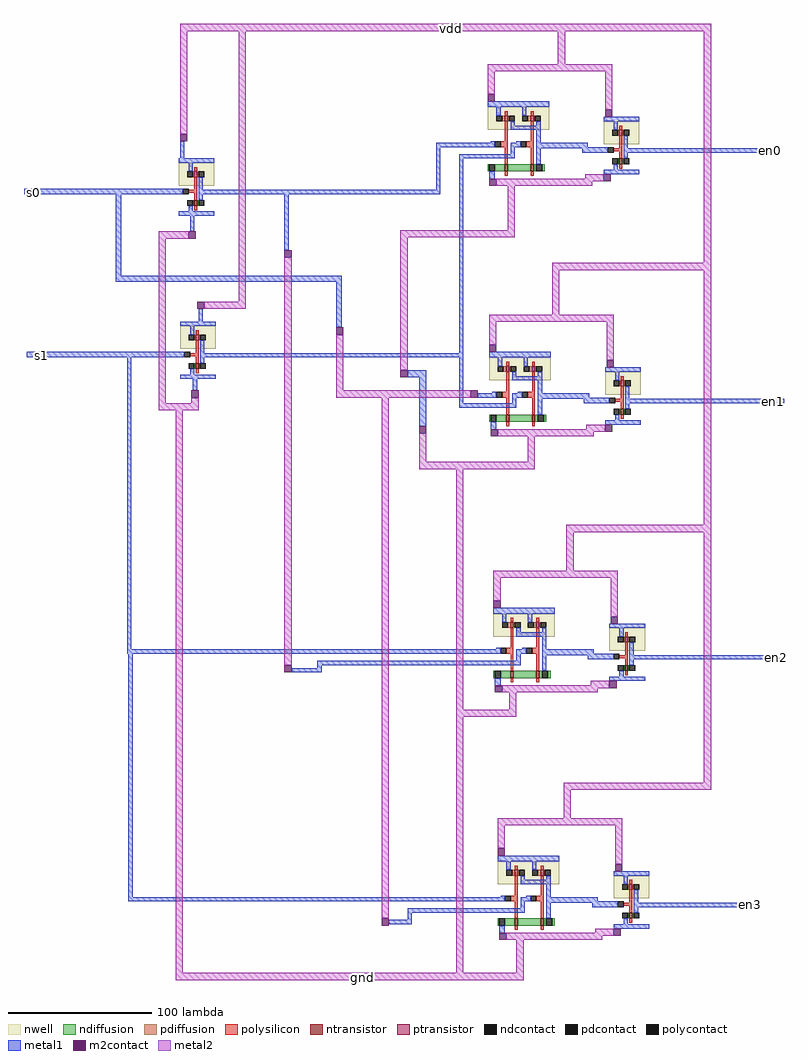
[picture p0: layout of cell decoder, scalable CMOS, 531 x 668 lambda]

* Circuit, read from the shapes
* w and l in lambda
.subckt decoder en0 en1 en2 en3 gnd s0 s1 vdd
M1 AND_0/A s0 gnd VSUBS nfet w=4 l=2
M2 AND_0/B s1 gnd VSUBS nfet w=4 l=2
M3 n1 AND_0/A gnd VSUBS nfet w=5 l=2
M4 n2 s0 gnd VSUBS nfet w=5 l=2
M5 n3 s1 gnd VSUBS nfet w=5 l=2
M6 n4 s1 gnd VSUBS nfet w=5 l=2
M7 AND_0/not_0/in AND_0/B n1 VSUBS nfet w=5 l=2
M8 AND_1/not_0/in AND_0/B n2 VSUBS nfet w=5 l=2
M9 AND_2/not_0/in AND_0/A n3 VSUBS nfet w=5 l=2
M10 AND_3/not_0/in s0 n4 VSUBS nfet w=5 l=2
M11 en0 AND_0/not_0/in gnd VSUBS nfet w=4 l=2
M12 en1 AND_1/not_0/in gnd VSUBS nfet w=4 l=2
M13 en2 AND_2/not_0/in gnd VSUBS nfet w=4 l=2
M14 en3 AND_3/not_0/in gnd VSUBS nfet w=4 l=2
M15 AND_0/A s0 vdd n5 pfet w=4 l=2
M16 AND_0/B s1 vdd n6 pfet w=4 l=2
M17 AND_0/not_0/in AND_0/A vdd n7 pfet w=4 l=2
M18 AND_1/not_0/in s0 vdd n8 pfet w=4 l=2
M19 AND_2/not_0/in s1 vdd n9 pfet w=4 l=2
M20 AND_3/not_0/in s1 vdd n10 pfet w=4 l=2
M21 AND_0/not_0/in AND_0/B vdd n7 pfet w=4 l=2
M22 AND_1/not_0/in AND_0/B vdd n8 pfet w=4 l=2
M23 AND_2/not_0/in AND_0/A vdd n9 pfet w=4 l=2
M24 AND_3/not_0/in s0 vdd n10 pfet w=4 l=2
M25 en0 AND_0/not_0/in vdd n11 pfet w=4 l=2
M26 en1 AND_1/not_0/in vdd n12 pfet w=4 l=2
M27 en2 AND_2/not_0/in vdd n13 pfet w=4 l=2
M28 en3 AND_3/not_0/in vdd n14 pfet w=4 l=2
.ends

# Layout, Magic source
magic
tech scmos
<< metal1 >>
rect 1 37 4 52
rect 180 48 218 51
rect -108 17 2 19
rect 180 18 183 48
rect 232 43 235 50
rect 323 44 419 47
rect -108 15 3 17
rect 22 15 183 18
rect 196 40 235 43
rect -44 -42 -40 15
rect 8 -11 11 3
rect 74 -24 77 15
rect -44 -46 114 -42
rect 14 -77 17 -65
rect 110 -78 114 -46
rect -106 -97 3 -95
rect 196 -96 199 40
rect -106 -99 4 -97
rect 23 -99 199 -96
rect -36 -303 -33 -99
rect 10 -122 13 -111
rect 160 -113 173 -108
rect 168 -147 173 -113
rect 196 -131 199 -99
rect 209 -127 218 -124
rect 233 -131 236 -125
rect 324 -131 423 -128
rect 196 -134 236 -131
rect -36 -306 221 -303
rect -35 -476 -32 -306
rect 236 -311 239 -303
rect 328 -310 422 -307
rect 97 -314 239 -311
rect 97 -316 100 -314
rect 79 -319 100 -316
rect -35 -479 225 -476
rect 239 -484 242 -476
rect 330 -483 403 -480
rect 160 -487 242 -484
rect 160 -492 163 -487
rect 147 -495 163 -492
<< m2contact >>
rect 1 52 6 57
rect 7 -16 12 -11
rect 74 -29 79 -24
rect 13 -65 18 -60
rect 110 -83 115 -78
rect 155 -113 160 -108
rect 9 -127 14 -122
rect 204 -127 209 -122
rect 168 -152 173 -147
rect 74 -319 79 -314
rect 142 -496 147 -491
<< metal2 >>
rect 1 129 372 134
rect 1 57 6 129
rect -14 -16 7 -11
rect -14 -131 -9 -16
rect 42 -60 47 129
rect 265 101 270 129
rect 230 -10 235 26
rect 155 -15 235 -10
rect 18 -65 47 -60
rect 9 -131 14 -127
rect -14 -136 14 -131
rect -2 -529 3 -136
rect 74 -314 79 -29
rect 110 -122 115 -83
rect 155 -108 160 -15
rect 367 -33 372 129
rect 261 -38 372 -33
rect 261 -74 266 -38
rect 110 -127 204 -122
rect 142 -491 147 -127
rect 168 -172 173 -152
rect 244 -172 249 -152
rect 168 -177 249 -172
rect 194 -345 199 -177
rect 367 -216 372 -38
rect 271 -221 372 -216
rect 271 -253 276 -221
rect 231 -345 236 -330
rect 194 -350 236 -345
rect 194 -529 199 -350
rect 367 -396 372 -221
rect 269 -401 372 -396
rect 269 -424 274 -401
rect 236 -529 241 -501
rect -2 -534 241 -529
use AND  AND_3
transform 1 0 223 0 1 -502
box -2 -4 111 81
use AND  AND_2
transform 1 0 220 0 1 -329
box -2 -4 111 81
use AND  AND_1
transform 1 0 217 0 1 -150
box -2 -4 111 81
use AND  AND_0
transform 1 0 216 0 1 25
box -2 -4 111 81
use not  not_1
transform 1 0 10 0 1 -94
box -9 -20 16 20
use not  not_0
transform 1 0 9 0 1 20
box -9 -20 16 20
<< labels >>
rlabel metal1 -102 16 -101 17 1 s0
rlabel metal1 -96 -98 -95 -97 1 s1
rlabel metal1 413 45 414 46 1 en0
rlabel metal1 415 -130 416 -129 1 en1
rlabel metal1 417 -309 418 -308 1 en2
rlabel metal1 399 -482 400 -481 1 en3
rlabel metal2 128 -533 129 -532 1 gnd
rlabel metal2 190 131 192 131 5 vdd
<< end >>

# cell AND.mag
magic
tech scmos
<< metal1 >>
rect -2 23 5 26
rect 16 23 23 26
rect 41 23 70 26
rect 41 22 82 23
rect 66 19 82 22
rect 106 19 111 22
rect 1 1 5 4
<< m2contact >>
rect 0 55 5 60
rect 82 44 87 49
rect 1 -4 6 1
rect 81 -1 86 4
<< metal2 >>
rect 0 76 87 81
rect 0 60 5 76
rect 82 49 87 76
rect 68 1 81 4
rect 6 -1 81 1
rect 6 -4 73 -1
use not  not_0
transform 1 0 90 0 1 24
box -9 -20 16 20
use NAND  NAND_0
transform 1 0 1 0 1 36
box -1 -36 44 19
<< labels >>
rlabel metal2 22 -2 26 -1 1 gnd
rlabel metal2 13 78 19 80 5 vdd
rlabel metal1 17 24 18 25 1 B
rlabel metal1 -1 24 1 25 3 A
rlabel metal1 107 20 109 21 7 out
<< end >>

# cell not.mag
magic
tech scmos
<< nwell >>
rect -9 1 16 17
<< ntransistor >>
rect 2 -13 4 -9
<< ptransistor >>
rect 2 7 4 11
<< ndiffusion >>
rect 1 -13 2 -9
rect 4 -13 5 -9
<< pdiffusion >>
rect 1 7 2 11
rect 4 7 5 11
<< ndcontact >>
rect -3 -13 1 -9
rect 5 -13 9 -9
<< pdcontact >>
rect -3 7 1 11
rect 5 7 9 11
<< polysilicon >>
rect 2 11 4 14
rect 2 -2 4 7
rect -2 -4 4 -2
rect 2 -9 4 -4
rect 2 -16 4 -13
<< polycontact >>
rect -6 -5 -2 -1
<< metal1 >>
rect -9 17 16 20
rect -2 11 1 17
rect -8 -5 -6 -1
rect 5 -2 8 7
rect 5 -5 16 -2
rect 5 -9 8 -5
rect -2 -17 1 -13
rect -9 -20 16 -17
<< labels >>
rlabel metal1 -5 18 -3 19 4 VDD
rlabel metal1 -8 -4 -7 -2 3 in
rlabel metal1 13 -4 15 -3 7 out
rlabel metal1 -2 -19 0 -18 1 gnd
<< end >>

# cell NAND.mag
magic
tech scmos
<< nwell >>
rect -1 -1 42 15
<< ntransistor >>
rect 11 -30 13 -25
rect 29 -30 31 -25
<< ptransistor >>
rect 11 5 13 9
rect 29 5 31 9
<< ndiffusion >>
rect -1 -30 0 -25
rect 4 -30 11 -25
rect 13 -30 29 -25
rect 31 -30 33 -25
rect 37 -30 39 -25
<< pdiffusion >>
rect 9 5 11 9
rect 13 5 14 9
rect 27 5 29 9
rect 31 5 32 9
<< ndcontact >>
rect 0 -30 4 -25
rect 33 -30 37 -25
<< pdcontact >>
rect 5 5 9 9
rect 14 5 18 9
rect 23 5 27 9
rect 32 5 36 9
<< polysilicon >>
rect 11 9 13 12
rect 29 9 31 12
rect 11 -9 13 5
rect 29 -9 31 5
rect 8 -13 13 -9
rect 26 -13 31 -9
rect 11 -25 13 -13
rect 29 -25 31 -13
rect 11 -33 13 -30
rect 29 -33 31 -30
<< polycontact >>
rect 4 -13 8 -9
rect 22 -13 26 -9
<< metal1 >>
rect -1 15 42 19
rect 5 9 8 15
rect 23 9 26 15
rect 15 2 18 5
rect 33 2 36 5
rect 15 -1 36 2
rect 1 -13 4 -9
rect 19 -13 22 -9
rect 33 -10 36 -1
rect 33 -14 44 -10
rect 33 -25 36 -14
rect 0 -36 4 -30
<< labels >>
rlabel metal1 2 -12 3 -10 3 A
rlabel metal1 20 -12 21 -10 1 B
rlabel metal1 0 16 3 18 4 vdd
rlabel metal1 39 -13 42 -11 7 out
rlabel metal1 1 -35 3 -33 2 gnd
<< end >>
